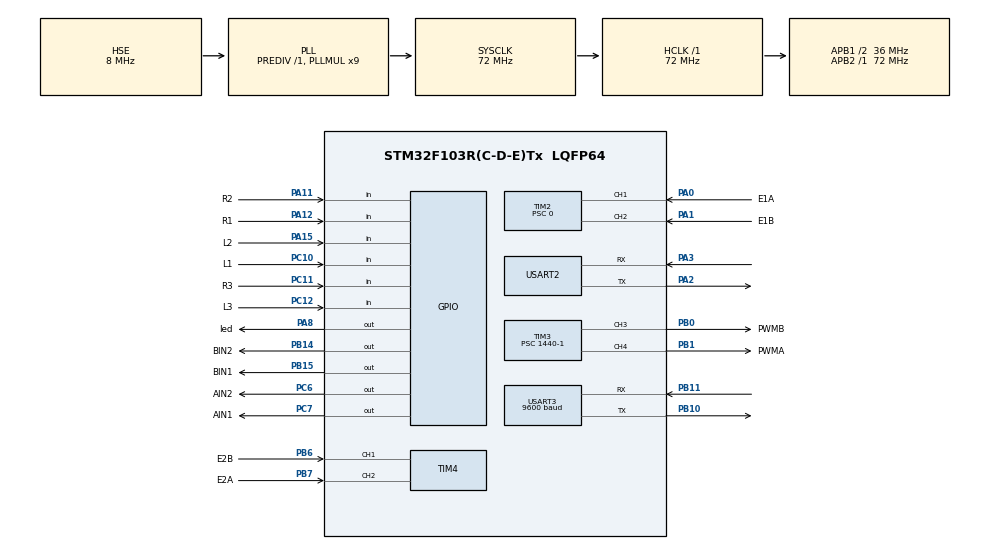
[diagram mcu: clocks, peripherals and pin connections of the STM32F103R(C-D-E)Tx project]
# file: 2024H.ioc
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Dma.Request0=USART3_RX
Dma.USART3_RX.0.Direction=DMA_PERIPH_TO_MEMORY
Dma.USART3_RX.0.Instance=DMA1_Channel3
Dma.USART3_RX.0.MemDataAlignment=DMA_MDATAALIGN_BYTE
Dma.USART3_RX.0.MemInc=DMA_MINC_ENABLE
Dma.USART3_RX.0.Mode=DMA_NORMAL
Dma.USART3_RX.0.PeriphDataAlignment=DMA_PDATAALIGN_BYTE
Dma.USART3_RX.0.PeriphInc=DMA_PINC_DISABLE
Dma.USART3_RX.0.Priority=DMA_PRIORITY_HIGH
Mcu.Family=STM32F1
Mcu.Name=STM32F103R(C-D-E)Tx
Mcu.Package=LQFP64
NVIC.DMA1_Channel3_IRQn=true\:0\:0\:false\:false\:true\:false\:true\:true
NVIC.PriorityGroup=NVIC_PRIORITYGROUP_4
NVIC.TIM1_UP_IRQn=true\:0\:0\:false\:false\:true\:true\:true\:true
NVIC.TIM2_IRQn=true\:0\:0\:false\:false\:true\:true\:true\:true
NVIC.TIM3_IRQn=true\:0\:0\:false\:false\:true\:true\:true\:true
NVIC.TIM4_IRQn=true\:0\:0\:false\:false\:true\:true\:true\:true
NVIC.USART2_IRQn=true\:0\:0\:false\:false\:true\:true\:true\:true
NVIC.USART3_IRQn=true\:0\:0\:false\:false\:true\:true\:true\:true
PA0-WKUP.GPIO_Label=E1A
PA0-WKUP.GPIO_PuPd=GPIO_PULLUP
PA0-WKUP.Signal=S_TIM2_CH1_ETR
PA1.GPIO_Label=E1B
PA1.GPIO_PuPd=GPIO_PULLUP
PA1.Signal=S_TIM2_CH2
PA11.GPIO_Label=R2
PA11.Signal=GPIO_Input
PA12.GPIO_Label=R1
PA12.Signal=GPIO_Input
PA13.Mode=Serial_Wire
PA13.Signal=SYS_JTMS-SWDIO
PA14.Mode=Serial_Wire
PA14.Signal=SYS_JTCK-SWCLK
PA15.GPIO_Label=L2
PA15.Signal=GPIO_Input
PA2.Mode=Asynchronous
PA2.Signal=USART2_TX
PA3.Mode=Asynchronous
PA3.Signal=USART2_RX
PA8.GPIO_Label=led
PA8.Signal=GPIO_Output
PB0.GPIO_Label=PWMB
PB0.Signal=S_TIM3_CH3
PB1.GPIO_Label=PWMA
PB1.Signal=S_TIM3_CH4
PB10.Mode=Asynchronous
PB10.Signal=USART3_TX
PB11.Mode=Asynchronous
PB11.Signal=USART3_RX
PB14.GPIO_Label=BIN2
PB14.Signal=GPIO_Output
PB15.GPIO_Label=BIN1
PB15.Signal=GPIO_Output
PB6.GPIO_Label=E2B
PB6.GPIO_PuPd=GPIO_PULLUP
PB6.Signal=S_TIM4_CH1
PB7.GPIO_Label=E2A
PB7.GPIO_PuPd=GPIO_PULLUP
PB7.Signal=S_TIM4_CH2
PC10.GPIO_Label=L1
PC10.Signal=GPIO_Input
PC11.GPIO_Label=R3
PC11.Signal=GPIO_Input
PC12.GPIO_Label=L3
PC12.Signal=GPIO_Input
PC14-OSC32_IN.Mode=LSE-External-Oscillator
PC14-OSC32_IN.Signal=RCC_OSC32_IN
PC15-OSC32_OUT.Mode=LSE-External-Oscillator
PC15-OSC32_OUT.Signal=RCC_OSC32_OUT
PC6.GPIO_Label=AIN2
PC6.Signal=GPIO_Output
PC7.GPIO_Label=AIN1
PC7.Signal=GPIO_Output
PD0-OSC_IN.Mode=HSE-External-Oscillator
PD0-OSC_IN.Signal=RCC_OSC_IN
PD1-OSC_OUT.Mode=HSE-External-Oscillator
PD1-OSC_OUT.Signal=RCC_OSC_OUT
ProjectManager.HeapSize=0x200
ProjectManager.StackSize=0x400
ProjectManager.TargetToolchain=MDK-ARM V5.32
RCC.AHBFreq_Value=72000000
RCC.APB1CLKDivider=RCC_HCLK_DIV2
RCC.APB1Freq_Value=36000000
RCC.APB1TimFreq_Value=72000000
RCC.APB2Freq_Value=72000000
RCC.APB2TimFreq_Value=72000000
RCC.HCLKFreq_Value=72000000
RCC.PLLMUL=RCC_PLL_MUL9
RCC.PLLSourceVirtual=RCC_PLLSOURCE_HSE
RCC.SYSCLKFreq_VALUE=72000000
RCC.SYSCLKSource=RCC_SYSCLKSOURCE_PLLCLK
RCC.USBFreq_Value=72000000
SH.S_TIM2_CH1_ETR.0=TIM2_CH1,Encoder_Interface
SH.S_TIM2_CH2.0=TIM2_CH2,Encoder_Interface
SH.S_TIM3_CH3.0=TIM3_CH3,PWM Generation3 CH3
SH.S_TIM3_CH4.0=TIM3_CH4,PWM Generation4 CH4
SH.S_TIM4_CH1.0=TIM4_CH1,Encoder_Interface
SH.S_TIM4_CH2.0=TIM4_CH2,Encoder_Interface
TIM1.AutoReloadPreload=TIM_AUTORELOAD_PRELOAD_ENABLE
TIM1.Period=100-1
TIM1.Prescaler=1440-1
TIM2.EncoderMode=TIM_ENCODERMODE_TI12
TIM2.IC1Filter=6
TIM2.IC2Filter=6
TIM2.Period=65535
TIM2.Prescaler=0
TIM3.AutoReloadPreload=TIM_AUTORELOAD_PRELOAD_ENABLE
TIM3.Channel-PWM\ Generation3\ CH3=TIM_CHANNEL_3
TIM3.Channel-PWM\ Generation4\ CH4=TIM_CHANNEL_4
TIM3.OCMode_PWM-PWM\ Generation4\ CH4=TIM_OCMODE_PWM1
TIM3.Period=100-1
TIM3.Prescaler=1440-1
TIM3.Pulse-PWM\ Generation3\ CH3=50
TIM3.Pulse-PWM\ Generation4\ CH4=50
TIM4.EncoderMode=TIM_ENCODERMODE_TI12
TIM4.IC1Filter=6
TIM4.IC2Filter=6
USART2.VirtualMode=VM_ASYNC
USART3.BaudRate=9600
USART3.VirtualMode=VM_ASYNC
VP_TIM1_VS_ClockSourceINT.Mode=Internal
board=custom

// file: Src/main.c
/* USER CODE BEGIN Header */
/**
  ******************************************************************************
  * @file           : main.c
  * @brief          : Main program body
  ******************************************************************************
  */
/* USER CODE END Header */

#include "main.h"
#include "dma.h"
#include "tim.h"
#include "usart.h"
#include "gpio.h"

/* USER CODE BEGIN Includes */
#include "stdio.h"
#include "Motor.h"
#include "niming.h"
#include "pid.h"
#include "Tracking.h"
#include "jy61.h"
/* USER CODE END Includes */

/* USER CODE BEGIN PTD */
extern float speed1;
extern float speed2;
extern float Motor_Speet_Up;
extern float Mileage;

extern uint8_t Jy61_Rx;
extern float Jy61_X_Angle;
extern float Jy61_Y_Angle;
extern float Jy61_Z_Angle;
extern float Jy61_Angle_Temp;

extern tPid pidMotor1Speed;
extern tPid pidMotor2Speed;
/* USER CODE END PTD */

/* USER CODE BEGIN PV */
uint8_t g_TaskSelect = 0;       /* 0=idle, 1-4=task */
uint8_t g_TaskRunning = 0;      /* 任务运行中标志 */
NavState g_NavState = NAV_STATE_IDLE;
uint8_t g_WaypointCount = 0;    /* 已通过的顶点数 */
uint8_t g_TargetWaypoints = 0;  /* 目标顶点数 */
uint8_t g_PointDetected = 0;    /* 顶点检测标志 */
uint8_t g_IndicateDone = 0;     /* 声光提示完成 */
uint8_t g_PrevAllBlack = 0;     /* 前一帧全黑状态（用于上升沿检测） */
uint32_t g_PointTick = 0;       /* 顶点检测时间戳 */
uint32_t g_TaskStartTick = 0;   /* 任务启动时间戳 */
const float g_BaseSpeed = 1.7f; /* 基础速度 */
/* USER CODE END PV */

void SystemClock_Config(void);
/* USER CODE BEGIN PFP */
static void System_Indicate(void);
static void Task_Start(uint8_t task);
static void Nav_Run(void);
static uint8_t Point_Detected(void);
/* USER CODE END PFP */

int main(void)
{

  HAL_Init();
  SystemClock_Config();

  MX_GPIO_Init();
  MX_DMA_Init();
  MX_TIM3_Init();
  MX_USART2_UART_Init();
  MX_TIM2_Init();
  MX_TIM4_Init();
  MX_TIM1_Init();
  MX_USART3_UART_Init();

  /* USER CODE BEGIN 2 */
  Motor_Init();
  PID_init();
  HAL_UART_Receive_IT(&huart3, &Jy61_Rx, 1);
  HAL_GPIO_WritePin(led_GPIO_Port, led_Pin, GPIO_PIN_SET);
  HAL_GPIO_WritePin(BUZZER_GPIO_Port, BUZZER_Pin, GPIO_PIN_RESET);
  printf("System Ready. Task=%d\r\n", g_TaskSelect);
  /* USER CODE END 2 */

  /* Infinite loop */
  /* USER CODE BEGIN WHILE */
  while (1)
  {
    /* ---- 空闲：等待按键选择任务 ---- */
    if (g_TaskSelect == TASK_NONE && g_TaskRunning == 0)
    {
      /* LED慢闪表示空闲 */
      static uint32_t idleTick = 0;
      if (HAL_GetTick() - idleTick > 500)
      {
        HAL_GPIO_TogglePin(led_GPIO_Port, led_Pin);
        idleTick = HAL_GetTick();
      }
      /* 检查按键 */
      if (g_TaskSelect != TASK_NONE)
      {
        HAL_GPIO_WritePin(led_GPIO_Port, led_Pin, GPIO_PIN_SET);
        printf("Task %d selected. Starting in 2s...\r\n", g_TaskSelect);
        HAL_Delay(2000);
        Task_Start(g_TaskSelect);
      }
    }

    /* ---- 任务运行中 ---- */
    if (1)
    {
      Nav_Run();
    }

    /* 调试输出 */
    static uint32_t dbgTick = 0;
    if (HAL_GetTick() - dbgTick > 200)
    {
      printf("T%d S%d WP%d/%d Z:%.1f S1:%.2f S2:%.2f\r\n",
             g_TaskSelect, g_NavState, g_WaypointCount, g_TargetWaypoints,
             Jy61_Z_Angle, speed1, speed2);
      dbgTick = HAL_GetTick();
    }

    /* USER CODE END WHILE */
  }
}

/* USER CODE BEGIN 4 */

/* 顶点检测：6个传感器都看到黑线（上升沿检测，防止重复计数） */
static uint8_t Point_Detected(void)
{
  uint8_t allBlack = Tracking_All_Black();
  uint8_t result = 0;

  if (allBlack && !g_PrevAllBlack)
  {
    result = 1;
  }
  g_PrevAllBlack = allBlack;
  return result;
}

/* 声光提示：LED + 蜂鸣器 */
static void System_Indicate(void)
{
  for (int i = 0; i < 2; i++)
  {
    HAL_GPIO_WritePin(led_GPIO_Port, led_Pin, GPIO_PIN_RESET);
    HAL_GPIO_WritePin(BUZZER_GPIO_Port, BUZZER_Pin, GPIO_PIN_SET);
    HAL_Delay(150);
    HAL_GPIO_WritePin(led_GPIO_Port, led_Pin, GPIO_PIN_SET);
    HAL_GPIO_WritePin(BUZZER_GPIO_Port, BUZZER_Pin, GPIO_PIN_RESET);
    HAL_Delay(150);
  }
}

/* 根据任务号初始化 */
static void Task_Start(uint8_t task)
{
  g_NavState = NAV_STATE_LINE_FOLLOW;
  g_WaypointCount = 0;
  g_PointDetected = 0;
  g_IndicateDone = 0;
  g_PrevAllBlack = 0;
  g_TaskRunning = 1;
  g_TaskStartTick = HAL_GetTick();
  Mileage = 0;

  switch (task)
  {
    case TASK_1:
      /* A→B: 经过B点即停止 */
      g_TargetWaypoints = 1;
      break;
    case TASK_2:
      /* A→B→弧→C→D→弧→A: 经过B,C,D,A共4个点 */
      g_TargetWaypoints = 4;
      break;
    case TASK_3:
      /* A→C→弧→B→D→弧→A (8字): 经过C,B,D,A共4个点 */
      g_TargetWaypoints = 4;
      break;
    case TASK_4:
      /* 8字4圈: 每圈4个点 × 4圈 = 16个点 */
      g_TargetWaypoints = 16;
      break;
    default:
      g_TargetWaypoints = 0;
      g_TaskRunning = 0;
      return;
  }

  printf("Task %d started. Target waypoints: %d\r\n", task, g_TargetWaypoints);
}

/* 导航主循环 */
static void Nav_Run(void)
{
  float leftSpeed, rightSpeed;

  switch (NAV_STATE_LINE_FOLLOW)
  {
    case NAV_STATE_LINE_FOLLOW:
      /* 巡线行驶 */
      Tracking_LineFollow(g_BaseSpeed, &leftSpeed, &rightSpeed);
      Motor_PID_Go_SetSpeed(leftSpeed, rightSpeed);

      /* 检测顶点 */
      if (Point_Detected())
      {
        g_WaypointCount++;
        printf("Waypoint %d/%d reached!\r\n", g_WaypointCount, g_TargetWaypoints);
        g_NavState = NAV_STATE_POINT_INDICATE;
        g_IndicateDone = 0;
      }
      break;

    case NAV_STATE_POINT_INDICATE:
      /* 停车 + 声光提示 */
      Motor_PID_Go_SetSpeed(0, 0);
      if (!g_IndicateDone)
      {
        System_Indicate();
        g_IndicateDone = 1;

        /* 检查是否完成 */
        if (g_WaypointCount >= g_TargetWaypoints)
        {
          g_NavState = NAV_STATE_FINISH;
        }
        else
        {
          g_NavState = NAV_STATE_LINE_FOLLOW;
          /* 短暂前进以离开顶点区域，避免重复检测 */
          Motor_PID_Go_SetSpeed(g_BaseSpeed, g_BaseSpeed);
          HAL_Delay(200);
        }
      }
      break;

    case NAV_STATE_FINISH:
      /* 任务完成 */
      Motor_PID_Go_SetSpeed(0, 0);
      g_TaskRunning = 0;
      g_TaskSelect = TASK_NONE;
      for (int i = 0; i < 4; i++)
      {
        HAL_GPIO_WritePin(led_GPIO_Port, led_Pin, GPIO_PIN_RESET);
        HAL_GPIO_WritePin(BUZZER_GPIO_Port, BUZZER_Pin, GPIO_PIN_SET);
        HAL_Delay(100);
        HAL_GPIO_WritePin(led_GPIO_Port, led_Pin, GPIO_PIN_SET);
        HAL_GPIO_WritePin(BUZZER_GPIO_Port, BUZZER_Pin, GPIO_PIN_RESET);
        HAL_Delay(100);
      }
      printf("Task complete! Total waypoints: %d, Time: %lums\r\n",
             g_WaypointCount, HAL_GetTick() - g_TaskStartTick);
      g_NavState = NAV_STATE_IDLE;
      break;

    default:
      Motor_PID_Go_SetSpeed(0, 0);
      g_NavState = NAV_STATE_IDLE;
      break;
  }
}

/* JY61 串口接收回调 */
void HAL_UART_RxCpltCallback(UART_HandleTypeDef *huart)
{
  if (huart->Instance == USART3)
  {
    Jy61_RXData();
  }
  HAL_UART_Receive_IT(&huart3, &Jy61_Rx, 1);
}

/* USER CODE END 4 */

void SystemClock_Config(void)
{
  RCC_OscInitTypeDef RCC_OscInitStruct = {0};
  RCC_ClkInitTypeDef RCC_ClkInitStruct = {0};

  RCC_OscInitStruct.OscillatorType = RCC_OSCILLATORTYPE_HSE;
  RCC_OscInitStruct.HSEState = RCC_HSE_ON;
  RCC_OscInitStruct.HSEPredivValue = RCC_HSE_PREDIV_DIV1;
  RCC_OscInitStruct.HSIState = RCC_HSI_ON;
  RCC_OscInitStruct.PLL.PLLState = RCC_PLL_ON;
  RCC_OscInitStruct.PLL.PLLSource = RCC_PLLSOURCE_HSE;
  RCC_OscInitStruct.PLL.PLLMUL = RCC_PLL_MUL9;
  if (HAL_RCC_OscConfig(&RCC_OscInitStruct) != HAL_OK)
  {
    Error_Handler();
  }
  RCC_ClkInitStruct.ClockType = RCC_CLOCKTYPE_HCLK | RCC_CLOCKTYPE_SYSCLK
                                | RCC_CLOCKTYPE_PCLK1 | RCC_CLOCKTYPE_PCLK2;
  RCC_ClkInitStruct.SYSCLKSource = RCC_SYSCLKSOURCE_PLLCLK;
  RCC_ClkInitStruct.AHBCLKDivider = RCC_SYSCLK_DIV1;
  RCC_ClkInitStruct.APB1CLKDivider = RCC_HCLK_DIV2;
  RCC_ClkInitStruct.APB2CLKDivider = RCC_HCLK_DIV1;

  if (HAL_RCC_ClockConfig(&RCC_ClkInitStruct, FLASH_LATENCY_2) != HAL_OK)
  {
    Error_Handler();
  }
}

void Error_Handler(void)
{
  __disable_irq();
  while (1) { }
}
